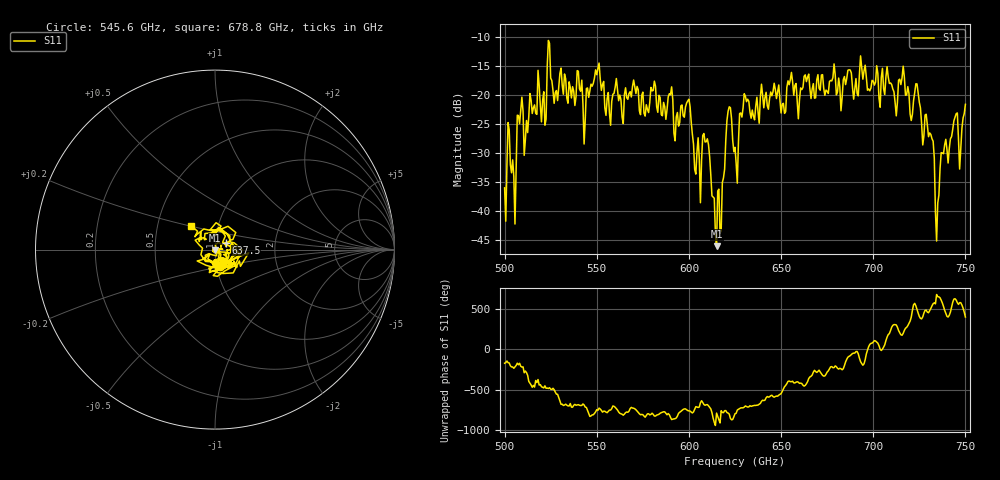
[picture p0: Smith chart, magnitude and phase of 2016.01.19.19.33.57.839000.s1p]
!Created with skrf (http://scikit-rf.org).
# GHz S RI R 50.0
!freq ReS11 ImS11
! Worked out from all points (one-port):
!   401 points, 500 GHz to 750 GHz, reference 50 ohm
!   lowest |S11| = -46.1 dB at 615 GHz (marker M1), VSWR 1.01, Z = 50.2 - j0.461 ohm
!   |S11| at or under -10 dB: start of sweep to end of sweep
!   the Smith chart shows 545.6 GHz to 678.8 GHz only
!   S11 on the Smith chart (normalised r, x): 545.6 GHz: 1.04, -0.19; 637.5 GHz: 1.12, +0.09; 678.8 GHz: 0.74, +0.20
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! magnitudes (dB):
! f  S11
! 500 GHz  -36.0
! 503.1 GHz  -32.0
! 505 GHz  -34.1
! 508.1 GHz  -24.9
! 521.2 GHz  -19.4
! 524.4 GHz  -11.1
! 531.2 GHz  -18.3
! 545.6 GHz  -20.4
! 562.5 GHz  -20.0
! 580.6 GHz  -19.2
! 593.8 GHz  -23.0
! 599.4 GHz  -21.0
! 605 GHz  -27.4
! 609.4 GHz  -28.1
! 615 GHz  -46.1
! 618.1 GHz  -35.1
! 621.9 GHz  -22.0
! 625 GHz  -29.0
! 630.6 GHz  -20.2
! 637.5 GHz  -22.9
! 656.2 GHz  -17.7
! 678.8 GHz  -14.6
! 687.5 GHz  -15.7
! 718.8 GHz  -18.5
! 731.2 GHz  -26.8
! 735 GHz  -38.6
! 738.1 GHz  -30.1
! 750 GHz  -21.6
